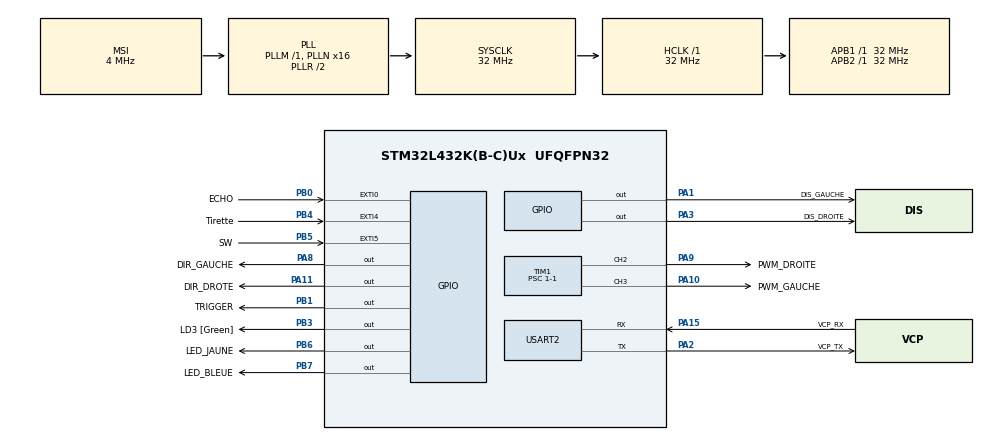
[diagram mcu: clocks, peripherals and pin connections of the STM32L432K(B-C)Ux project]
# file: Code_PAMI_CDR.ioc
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Mcu.Family=STM32L4
Mcu.Name=STM32L432K(B-C)Ux
Mcu.Package=UFQFPN32
NVIC.EXTI9_5_IRQn=true\:0\:0\:false\:false\:true\:true\:true\:true
NVIC.PriorityGroup=NVIC_PRIORITYGROUP_4
NVIC.TIM7_IRQn=true\:0\:0\:false\:false\:true\:true\:true\:true
PA0.GPIO_Label=MCO [High speed clock in]
PA0.Mode=HSE-External-Clock-Source-for-LittleOrca
PA0.Signal=RCC_CK_IN
PA1.GPIO_Label=DIS_GAUCHE
PA1.Signal=GPIO_Output
PA10.GPIO_Label=PWM_GAUCHE
PA10.Signal=S_TIM1_CH3
PA11.GPIO_Label=DIR_DROTE
PA11.Signal=GPIO_Output
PA13\ (JTMS-SWDIO).GPIO_Label=SWDIO
PA13\ (JTMS-SWDIO).Mode=Serial_Wire
PA13\ (JTMS-SWDIO).Signal=SYS_JTMS-SWDIO
PA14\ (JTCK-SWCLK).GPIO_Label=SWCLK
PA14\ (JTCK-SWCLK).Mode=Serial_Wire
PA14\ (JTCK-SWCLK).Signal=SYS_JTCK-SWCLK
PA15\ (JTDI).GPIO_Label=VCP_RX
PA15\ (JTDI).Mode=Asynchronous
PA15\ (JTDI).Signal=USART2_RX
PA2.GPIO_Label=VCP_TX
PA2.Mode=Asynchronous
PA2.Signal=USART2_TX
PA3.GPIO_Label=DIS_DROITE
PA3.Signal=GPIO_Output
PA8.GPIO_Label=DIR_GAUCHE
PA8.Signal=GPIO_Output
PA9.GPIO_Label=PWM_DROITE
PA9.Signal=S_TIM1_CH2
PB0.GPIO_Label=ECHO
PB0.Signal=GPXTI0
PB1.GPIO_Label=TRIGGER
PB1.Signal=GPIO_Output
PB3\ (JTDO-TRACESWO).GPIO_Label=LD3 [Green]
PB3\ (JTDO-TRACESWO).Signal=GPIO_Output
PB4\ (NJTRST).GPIO_Label=Tirette
PB4\ (NJTRST).Signal=GPXTI4
PB5.GPIO_Label=SW
PB5.Signal=GPXTI5
PB6.GPIO_Label=LED_JAUNE
PB6.Signal=GPIO_Output
PB7.GPIO_Label=LED_BLEUE
PB7.Signal=GPIO_Output
PC14-OSC32_IN\ (PC14).Mode=LSE-External-Oscillator
PC14-OSC32_IN\ (PC14).Signal=RCC_OSC32_IN
PC15-OSC32_OUT\ (PC15).Mode=LSE-External-Oscillator
PC15-OSC32_OUT\ (PC15).Signal=RCC_OSC32_OUT
ProjectManager.HeapSize=0x200
ProjectManager.StackSize=0x400
ProjectManager.TargetToolchain=STM32CubeIDE
RCC.AHBFreq_Value=32000000
RCC.APB1Freq_Value=32000000
RCC.APB1TimFreq_Value=32000000
RCC.APB2Freq_Value=32000000
RCC.APB2TimFreq_Value=32000000
RCC.CortexFreq_Value=32000000
RCC.HCLKFreq_Value=32000000
RCC.HSE_VALUE=8000000
RCC.HSI16_VALUE=16000000
RCC.HSI48_VALUE=48000000
RCC.HSI_VALUE=16000000
RCC.MSI_VALUE=4000000
RCC.PLLMUL=RCC_PLLMUL_4
RCC.PLLN=16
RCC.SYSCLKFreq_VALUE=32000000
RCC.SYSCLKSource=RCC_SYSCLKSOURCE_PLLCLK
RCC.VCOOutputFreq_Value=64000000
SH.S_TIM1_CH2.0=TIM1_CH2,PWM Generation2 CH2
SH.S_TIM1_CH3.0=TIM1_CH3,PWM Generation3 CH3
TIM1.Channel-PWM\ Generation2\ CH2=TIM_CHANNEL_2
TIM1.Channel-PWM\ Generation3\ CH3=TIM_CHANNEL_3
TIM1.Channel-PWM\ Generation3\ No\ Output=TIM_CHANNEL_3
TIM1.Period=60000
TIM1.Prescaler=1-1
TIM2.Period=65535
TIM2.Prescaler=72-1
TIM7.Prescaler=1221-1
USART2.VirtualMode-Asynchronous=VM_ASYNC
VP_TIM2_VS_ClockSourceINT.Mode=Internal
VP_TIM7_VS_ClockSourceINT.Mode=Enable_Timer
board=NUCLEO-L432KC

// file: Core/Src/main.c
/* USER CODE BEGIN Header */
/**
  ******************************************************************************
  * @file           : main.c
  * @brief          : Main program body
  ******************************************************************************
  * @attention
  *
  * Copyright (c) 2024 STMicroelectronics.
  * All rights reserved.
  *
  * This software is licensed under terms that can be found in the LICENSE file
  * in the root directory of this software component.
  * If no LICENSE file comes with this software, it is provided AS-IS.
  *
  ******************************************************************************
  */
/* USER CODE END Header */
#include "main.h"

/* USER CODE BEGIN Includes */
#include "string.h"
/* USER CODE END Includes */

TIM_HandleTypeDef htim1;
TIM_HandleTypeDef htim2;
TIM_HandleTypeDef htim7;

UART_HandleTypeDef huart2;

/* USER CODE BEGIN PV */
volatile int Time =0;
volatile int team =0; // 0 -> Bleu / 1 -> Jaune

uint8_t match =0; // 0 -> Attente match | 1 -> Match en cours | 2 -> Fin de match

int Value1;
int Value2;
int Distance;
int pMillis;
/* USER CODE END PV */

void SystemClock_Config(void);
static void MX_GPIO_Init(void);
static void MX_USART2_UART_Init(void);
static void MX_TIM1_Init(void);
static void MX_TIM7_Init(void);
static void MX_TIM2_Init(void);
/* USER CODE BEGIN PFP */
void serial_terminal_println(char* msg);
/* USER CODE END PFP */

int main(void)
{

  /* MCU Configuration--------------------------------------------------------*/

  /* Reset of all peripherals, Initializes the Flash interface and the Systick. */
  HAL_Init();

  /* Configure the system clock */
  SystemClock_Config();

  /* Initialize all configured peripherals */
  MX_GPIO_Init();
  MX_USART2_UART_Init();
  MX_TIM1_Init();
  MX_TIM7_Init();
  MX_TIM2_Init();
  /* USER CODE BEGIN 2 */

  /* - - - Initialisation des PAMIs - - -  */
  serial_terminal_println(" - -  Initialisation - - ");
  HAL_TIM_Base_Start_IT(&htim7);

  // Moteur pas à pas
  serial_terminal_println("- Début init moteur - ");

  HAL_TIM_PWM_Start(&htim1, TIM_CHANNEL_2);
  HAL_TIM_PWM_Start(&htim1, TIM_CHANNEL_3);
  __HAL_TIM_SET_COMPARE(&htim1,TIM_CHANNEL_2, 60000);
  __HAL_TIM_SET_COMPARE(&htim1,TIM_CHANNEL_3, 60000);
  HAL_GPIO_WritePin(DIS_DROITE_GPIO_Port, DIS_DROITE_Pin, GPIO_PIN_SET);
  HAL_GPIO_WritePin(DIS_GAUCHE_GPIO_Port, DIS_GAUCHE_Pin, GPIO_PIN_SET);

  serial_terminal_println("- Fin init moteur -");

  while (match == 0)
  {
	  serial_terminal_println("En attente du match");
	  if(team == 1)
	  {
		  HAL_GPIO_WritePin(LED_JAUNE_GPIO_Port, LED_JAUNE_Pin, GPIO_PIN_RESET);
		  HAL_GPIO_WritePin(LED_BLEUE_GPIO_Port, LED_BLEUE_Pin, GPIO_PIN_SET);
	  }
	  else
	  {
		  HAL_GPIO_WritePin(LED_JAUNE_GPIO_Port, LED_JAUNE_Pin, GPIO_PIN_SET);
		  HAL_GPIO_WritePin(LED_BLEUE_GPIO_Port, LED_BLEUE_Pin, GPIO_PIN_RESET);
	  }
  }
  while(Time < 91);

  serial_terminal_println("- Début du match -");
  while (match == 1)
  {
	serial_terminal_println("Match en cours");

  	  // Capteur à ultrasons
  	HAL_GPIO_WritePin(TRIGGER_GPIO_Port, TRIGGER_Pin, 1);
  	__HAL_TIM_SET_COUNTER(&htim2, 0);

  	while(__HAL_TIM_GET_COUNTER(&htim2) < 10);
  	HAL_GPIO_WritePin(TRIGGER_GPIO_Port, TRIGGER_Pin, 0);

  	pMillis = HAL_GetTick();
  	while(!(HAL_GPIO_ReadPin(ECHO_GPIO_Port, ECHO_Pin)) && pMillis +10 > HAL_GetTick());
  	Value1 = __HAL_TIM_GET_COUNTER(&htim2);

  	pMillis = HAL_GetTick();
  	while((HAL_GPIO_ReadPin(ECHO_GPIO_Port, ECHO_Pin)) && pMillis +50 > HAL_GetTick());
  	Value2 = __HAL_TIM_GET_COUNTER(&htim2);
  	Distance = (Value2 - Value1)*0.034/2;

  	if(Distance < 5)
  	{
  		HAL_GPIO_WritePin(DIS_DROITE_GPIO_Port, DIS_DROITE_Pin, GPIO_PIN_RESET);
  		HAL_GPIO_WritePin(DIS_GAUCHE_GPIO_Port, DIS_GAUCHE_Pin, GPIO_PIN_RESET);
  	}
  	else
  	{
  		HAL_GPIO_WritePin(DIS_DROITE_GPIO_Port, DIS_DROITE_Pin, GPIO_PIN_SET);
  		HAL_GPIO_WritePin(DIS_GAUCHE_GPIO_Port, DIS_GAUCHE_Pin, GPIO_PIN_SET);
  	}

  	if(Time > 99)
  	{
  		match =2;
  	}
  	HAL_Delay(50);
  }
  serial_terminal_println("- Fin du match -");

  /* USER CODE END 2 */

  /* Infinite loop */
  /* USER CODE BEGIN WHILE */
  while (1)
  {
	  serial_terminal_println("En attente de réinitialisation");
    /* USER CODE END WHILE */

  }
}

void SystemClock_Config(void)
{
  RCC_OscInitTypeDef RCC_OscInitStruct = {0};
  RCC_ClkInitTypeDef RCC_ClkInitStruct = {0};

  /** Configure the main internal regulator output voltage
  */
  if (HAL_PWREx_ControlVoltageScaling(PWR_REGULATOR_VOLTAGE_SCALE1) != HAL_OK)
  {
    Error_Handler();
  }

  /** Configure LSE Drive Capability
  */
  HAL_PWR_EnableBkUpAccess();
  __HAL_RCC_LSEDRIVE_CONFIG(RCC_LSEDRIVE_LOW);

  /** Initializes the RCC Oscillators according to the specified parameters
  * in the RCC_OscInitTypeDef structure.
  */
  RCC_OscInitStruct.OscillatorType = RCC_OSCILLATORTYPE_LSE|RCC_OSCILLATORTYPE_MSI;
  RCC_OscInitStruct.LSEState = RCC_LSE_ON;
  RCC_OscInitStruct.MSIState = RCC_MSI_ON;
  RCC_OscInitStruct.MSICalibrationValue = 0;
  RCC_OscInitStruct.MSIClockRange = RCC_MSIRANGE_6;
  RCC_OscInitStruct.PLL.PLLState = RCC_PLL_ON;
  RCC_OscInitStruct.PLL.PLLSource = RCC_PLLSOURCE_MSI;
  RCC_OscInitStruct.PLL.PLLM = 1;
  RCC_OscInitStruct.PLL.PLLN = 16;
  RCC_OscInitStruct.PLL.PLLP = RCC_PLLP_DIV7;
  RCC_OscInitStruct.PLL.PLLQ = RCC_PLLQ_DIV2;
  RCC_OscInitStruct.PLL.PLLR = RCC_PLLR_DIV2;
  if (HAL_RCC_OscConfig(&RCC_OscInitStruct) != HAL_OK)
  {
    Error_Handler();
  }

  /** Initializes the CPU, AHB and APB buses clocks
  */
  RCC_ClkInitStruct.ClockType = RCC_CLOCKTYPE_HCLK|RCC_CLOCKTYPE_SYSCLK
                              |RCC_CLOCKTYPE_PCLK1|RCC_CLOCKTYPE_PCLK2;
  RCC_ClkInitStruct.SYSCLKSource = RCC_SYSCLKSOURCE_PLLCLK;
  RCC_ClkInitStruct.AHBCLKDivider = RCC_SYSCLK_DIV1;
  RCC_ClkInitStruct.APB1CLKDivider = RCC_HCLK_DIV1;
  RCC_ClkInitStruct.APB2CLKDivider = RCC_HCLK_DIV1;

  if (HAL_RCC_ClockConfig(&RCC_ClkInitStruct, FLASH_LATENCY_1) != HAL_OK)
  {
    Error_Handler();
  }

  /** Enable MSI Auto calibration
  */
  HAL_RCCEx_EnableMSIPLLMode();
}

static void MX_TIM1_Init(void)
{

  TIM_MasterConfigTypeDef sMasterConfig = {0};
  TIM_OC_InitTypeDef sConfigOC = {0};
  TIM_BreakDeadTimeConfigTypeDef sBreakDeadTimeConfig = {0};

  htim1.Instance = TIM1;
  htim1.Init.Prescaler = 1-1;
  htim1.Init.CounterMode = TIM_COUNTERMODE_UP;
  htim1.Init.Period = 60000;
  htim1.Init.ClockDivision = TIM_CLOCKDIVISION_DIV1;
  htim1.Init.RepetitionCounter = 0;
  htim1.Init.AutoReloadPreload = TIM_AUTORELOAD_PRELOAD_DISABLE;
  if (HAL_TIM_PWM_Init(&htim1) != HAL_OK)
  {
    Error_Handler();
  }
  sMasterConfig.MasterOutputTrigger = TIM_TRGO_RESET;
  sMasterConfig.MasterOutputTrigger2 = TIM_TRGO2_RESET;
  sMasterConfig.MasterSlaveMode = TIM_MASTERSLAVEMODE_DISABLE;
  if (HAL_TIMEx_MasterConfigSynchronization(&htim1, &sMasterConfig) != HAL_OK)
  {
    Error_Handler();
  }
  sConfigOC.OCMode = TIM_OCMODE_PWM1;
  sConfigOC.Pulse = 0;
  sConfigOC.OCPolarity = TIM_OCPOLARITY_HIGH;
  sConfigOC.OCNPolarity = TIM_OCNPOLARITY_HIGH;
  sConfigOC.OCFastMode = TIM_OCFAST_DISABLE;
  sConfigOC.OCIdleState = TIM_OCIDLESTATE_RESET;
  sConfigOC.OCNIdleState = TIM_OCNIDLESTATE_RESET;
  if (HAL_TIM_PWM_ConfigChannel(&htim1, &sConfigOC, TIM_CHANNEL_2) != HAL_OK)
  {
    Error_Handler();
  }
  if (HAL_TIM_PWM_ConfigChannel(&htim1, &sConfigOC, TIM_CHANNEL_3) != HAL_OK)
  {
    Error_Handler();
  }
  sBreakDeadTimeConfig.OffStateRunMode = TIM_OSSR_DISABLE;
  sBreakDeadTimeConfig.OffStateIDLEMode = TIM_OSSI_DISABLE;
  sBreakDeadTimeConfig.LockLevel = TIM_LOCKLEVEL_OFF;
  sBreakDeadTimeConfig.DeadTime = 0;
  sBreakDeadTimeConfig.BreakState = TIM_BREAK_DISABLE;
  sBreakDeadTimeConfig.BreakPolarity = TIM_BREAKPOLARITY_HIGH;
  sBreakDeadTimeConfig.BreakFilter = 0;
  sBreakDeadTimeConfig.Break2State = TIM_BREAK2_DISABLE;
  sBreakDeadTimeConfig.Break2Polarity = TIM_BREAK2POLARITY_HIGH;
  sBreakDeadTimeConfig.Break2Filter = 0;
  sBreakDeadTimeConfig.AutomaticOutput = TIM_AUTOMATICOUTPUT_DISABLE;
  if (HAL_TIMEx_ConfigBreakDeadTime(&htim1, &sBreakDeadTimeConfig) != HAL_OK)
  {
    Error_Handler();
  }
  HAL_TIM_MspPostInit(&htim1);

}

static void MX_TIM2_Init(void)
{

  TIM_ClockConfigTypeDef sClockSourceConfig = {0};
  TIM_MasterConfigTypeDef sMasterConfig = {0};

  htim2.Instance = TIM2;
  htim2.Init.Prescaler = 72-1;
  htim2.Init.CounterMode = TIM_COUNTERMODE_UP;
  htim2.Init.Period = 65535;
  htim2.Init.ClockDivision = TIM_CLOCKDIVISION_DIV1;
  htim2.Init.AutoReloadPreload = TIM_AUTORELOAD_PRELOAD_DISABLE;
  if (HAL_TIM_Base_Init(&htim2) != HAL_OK)
  {
    Error_Handler();
  }
  sClockSourceConfig.ClockSource = TIM_CLOCKSOURCE_INTERNAL;
  if (HAL_TIM_ConfigClockSource(&htim2, &sClockSourceConfig) != HAL_OK)
  {
    Error_Handler();
  }
  sMasterConfig.MasterOutputTrigger = TIM_TRGO_RESET;
  sMasterConfig.MasterSlaveMode = TIM_MASTERSLAVEMODE_DISABLE;
  if (HAL_TIMEx_MasterConfigSynchronization(&htim2, &sMasterConfig) != HAL_OK)
  {
    Error_Handler();
  }

}

static void MX_TIM7_Init(void)
{

  TIM_MasterConfigTypeDef sMasterConfig = {0};

  htim7.Instance = TIM7;
  htim7.Init.Prescaler = 1221-1;
  htim7.Init.CounterMode = TIM_COUNTERMODE_UP;
  htim7.Init.Period = 65535;
  htim7.Init.AutoReloadPreload = TIM_AUTORELOAD_PRELOAD_DISABLE;
  if (HAL_TIM_Base_Init(&htim7) != HAL_OK)
  {
    Error_Handler();
  }
  sMasterConfig.MasterOutputTrigger = TIM_TRGO_RESET;
  sMasterConfig.MasterSlaveMode = TIM_MASTERSLAVEMODE_DISABLE;
  if (HAL_TIMEx_MasterConfigSynchronization(&htim7, &sMasterConfig) != HAL_OK)
  {
    Error_Handler();
  }

}

static void MX_USART2_UART_Init(void)
{

  huart2.Instance = USART2;
  huart2.Init.BaudRate = 115200;
  huart2.Init.WordLength = UART_WORDLENGTH_8B;
  huart2.Init.StopBits = UART_STOPBITS_1;
  huart2.Init.Parity = UART_PARITY_NONE;
  huart2.Init.Mode = UART_MODE_TX_RX;
  huart2.Init.HwFlowCtl = UART_HWCONTROL_NONE;
  huart2.Init.OverSampling = UART_OVERSAMPLING_16;
  huart2.Init.OneBitSampling = UART_ONE_BIT_SAMPLE_DISABLE;
  huart2.AdvancedInit.AdvFeatureInit = UART_ADVFEATURE_NO_INIT;
  if (HAL_UART_Init(&huart2) != HAL_OK)
  {
    Error_Handler();
  }

}

static void MX_GPIO_Init(void)
{
  GPIO_InitTypeDef GPIO_InitStruct = {0};

  /* GPIO Ports Clock Enable */
  __HAL_RCC_GPIOC_CLK_ENABLE();
  __HAL_RCC_GPIOA_CLK_ENABLE();
  __HAL_RCC_GPIOB_CLK_ENABLE();

  /*Configure GPIO pin Output Level */
  HAL_GPIO_WritePin(GPIOA, DIS_GAUCHE_Pin|DIS_DROITE_Pin|DIR_GAUCHE_Pin|DIR_DROTE_Pin, GPIO_PIN_RESET);

  /*Configure GPIO pin Output Level */
  HAL_GPIO_WritePin(GPIOB, TRIGGER_Pin|LD3_Pin|LED_JAUNE_Pin|LED_BLEUE_Pin, GPIO_PIN_RESET);

  /*Configure GPIO pins : DIS_GAUCHE_Pin DIS_DROITE_Pin DIR_GAUCHE_Pin DIR_DROTE_Pin */
  GPIO_InitStruct.Pin = DIS_GAUCHE_Pin|DIS_DROITE_Pin|DIR_GAUCHE_Pin|DIR_DROTE_Pin;
  GPIO_InitStruct.Mode = GPIO_MODE_OUTPUT_PP;
  GPIO_InitStruct.Pull = GPIO_NOPULL;
  GPIO_InitStruct.Speed = GPIO_SPEED_FREQ_LOW;
  HAL_GPIO_Init(GPIOA, &GPIO_InitStruct);

  /*Configure GPIO pins : ECHO_Pin Tirette_Pin SW_Pin */
  GPIO_InitStruct.Pin = ECHO_Pin|Tirette_Pin|SW_Pin;
  GPIO_InitStruct.Mode = GPIO_MODE_IT_RISING;
  GPIO_InitStruct.Pull = GPIO_NOPULL;
  HAL_GPIO_Init(GPIOB, &GPIO_InitStruct);

  /*Configure GPIO pins : TRIGGER_Pin LD3_Pin LED_JAUNE_Pin LED_BLEUE_Pin */
  GPIO_InitStruct.Pin = TRIGGER_Pin|LD3_Pin|LED_JAUNE_Pin|LED_BLEUE_Pin;
  GPIO_InitStruct.Mode = GPIO_MODE_OUTPUT_PP;
  GPIO_InitStruct.Pull = GPIO_NOPULL;
  GPIO_InitStruct.Speed = GPIO_SPEED_FREQ_LOW;
  HAL_GPIO_Init(GPIOB, &GPIO_InitStruct);

  /* EXTI interrupt init*/
  HAL_NVIC_SetPriority(EXTI9_5_IRQn, 0, 0);
  HAL_NVIC_EnableIRQ(EXTI9_5_IRQn);

}

/* USER CODE BEGIN 4 */
void HAL_GPIO_EXTI_Callback(uint16_t GPIO_Pin)
{
	if(GPIO_Pin == SW_Pin)
	{
		if(team == 1)
		{
			team = 0;
		}
		else
			team = 1;
	}

	if(GPIO_Pin == Tirette_Pin)
		{
			match = 1;
		}
}

void HAL_TIM_PeriodElapsedCallback(TIM_HandleTypeDef *htim)
{
	if(htim->Instance == TIM7)
	{
		Time++;
	}

}

void serial_terminal_println(char* msg)
{
	HAL_UART_Transmit(&huart2, (uint8_t*)msg, strlen(msg), HAL_MAX_DELAY);
}
/* USER CODE END 4 */

void Error_Handler(void)
{
  __disable_irq();
  while (1)
  {
  }
}
